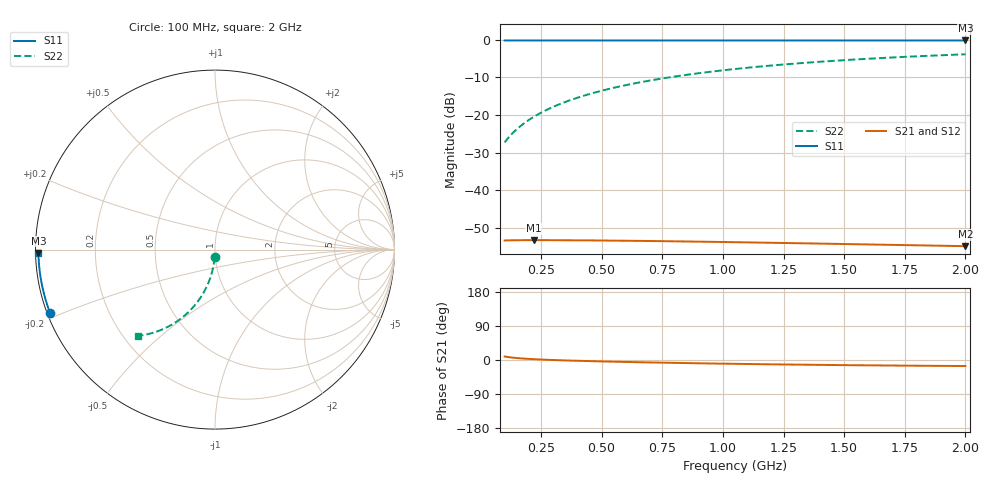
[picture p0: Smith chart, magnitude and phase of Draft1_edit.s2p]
!FrEq.  S11(v2)  S12(v2)  S21(v2)  S22(v2)
# Hz S RI R 50
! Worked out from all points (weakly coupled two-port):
!   2000 points, 100 MHz to 2 GHz, reference 50 ohm
!   highest |S21| = -53.35 dB at 220.7 MHz (marker M1); lowest = -55.0 dB at 2 GHz (marker M2)
!   lowest |S11| = -0.1 dB at 2 GHz (marker M3), VSWR 123.71, Z = 0.404 - j0.462 ohm
!   |S11| at or under -10 dB: nowhere
!   |S22| runs from -27.3 to -3.8 dB; largest |S21 - S12| = 5.8e-06
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1e8  -0.9195 -0.3517  0.0021 0.00034  0.0021 0.000345  -0.00187 -0.0431
1.066533e8  -0.9271 -0.331  0.00211 0.000314  0.00211 0.000319  -0.00214 -0.0459
1.190095e8  -0.938 -0.2984  0.00212 0.000273  0.00212 0.000277  -0.00267 -0.0512
1.294647e8  -0.945 -0.2753  0.00213 0.000243  0.00213 0.000247  -0.00317 -0.0557
1.532266e8  -0.956 -0.2339  0.00214 0.000186  0.00214 0.00019  -0.00445 -0.0658
1.845923e8  -0.9646 -0.195  0.00215 0.00013  0.00215 0.000133  -0.00647 -0.0791
2.207104e8  -0.9704 -0.1636  0.00215 7.91e-05  0.00215 8.18e-05  -0.00924 -0.0943
2.625313e8  -0.9743 -0.1378  0.00215 3.24e-05  0.00215 3.46e-05  -0.013 -0.1117
3.091046e8  -0.977 -0.1172  0.00215 -1.05e-05  0.00215 -8.63e-06  -0.018 -0.1309
3.604302e8  -0.9788 -0.1006  0.00214 -5.07e-05  0.00214 -4.91e-05  -0.0243 -0.1516
4.174587e8  -0.9801 -0.0869  0.00214 -8.95e-05  0.00214 -8.82e-05  -0.0324 -0.1741
4.858929e8  -0.9811 -0.0747  0.00212 -0.000131  0.00213 -0.00013  -0.0433 -0.2002
5.61931e8  -0.9819 -0.0646  0.00211 -0.000171  0.00211 -0.00017  -0.0571 -0.2281
6.446223e8  -0.9824 -0.0563  0.00209 -0.000211  0.00209 -0.00021  -0.0738 -0.2569
7.33967e8  -0.9827 -0.0495  0.00207 -0.000249  0.00207 -0.000249  -0.0936 -0.286
8.831916e8  -0.9831 -0.0411  0.00204 -0.000305  0.00204 -0.000304  -0.1299 -0.3299
1.050475e9  -0.9834 -0.0346  0.00199 -0.000357  0.00199 -0.000356  -0.1741 -0.3716
1.201601e9  -0.9835 -0.0302  0.00194 -0.000394  0.00194 -0.000394  -0.2158 -0.4027
1.366983e9  -0.9836 -0.0266  0.0019 -0.000427  0.0019 -0.000427  -0.2621 -0.43
1.521911e9  -0.9837 -0.0239  0.00185 -0.000451  0.00185 -0.000451  -0.3051 -0.4495
1.683492e9  -0.9837 -0.0216  0.0018 -0.000469  0.0018 -0.000469  -0.3487 -0.4645
2e9  -0.9838 -0.0182  0.00172 -0.00049  0.00172 -0.00049  -0.4286 -0.4805
